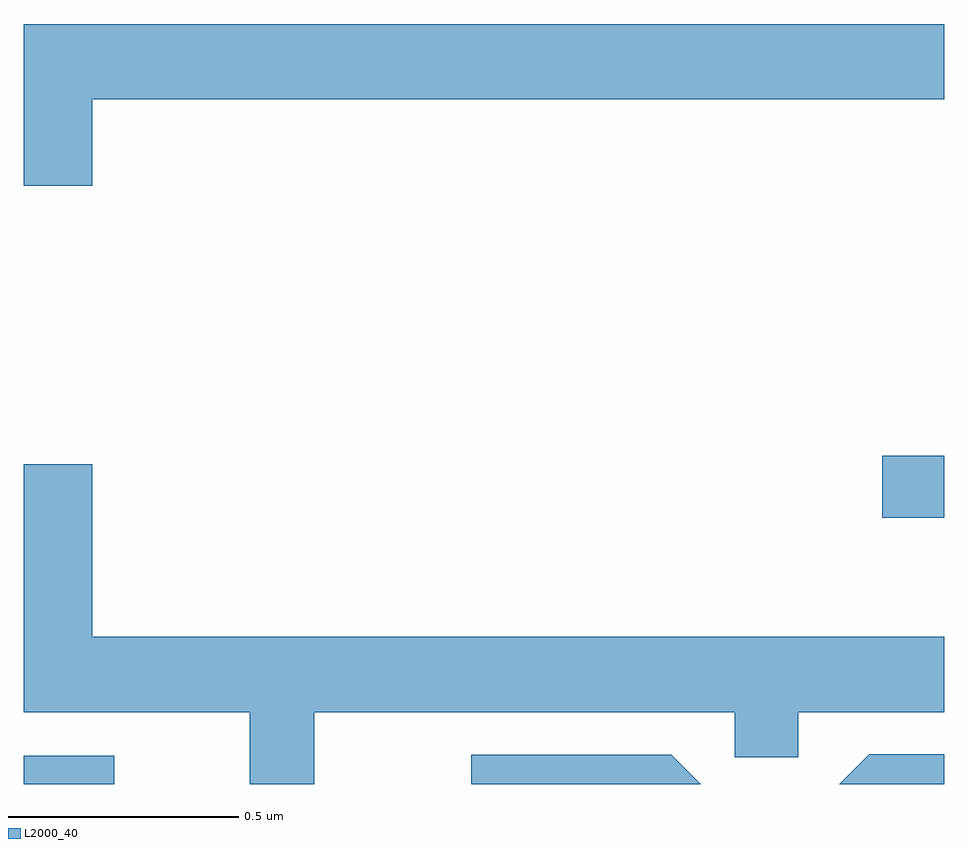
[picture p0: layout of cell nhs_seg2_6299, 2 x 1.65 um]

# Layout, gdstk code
import gdstk
lib = gdstk.Library(unit=1e-6, precision=1e-09)
def R(c, l, rs):  # rectangles x0, y0, x1, y1
    for r in rs: c.add(gdstk.rectangle(r[:2], r[2:], *l))
def P(c, l, *ps):  # polygons
    for p in ps: c.add(gdstk.Polygon(p, *l))
L2000_40 = (2000, 40)

nhs_seg2_6299 = lib.new_cell('nhs_seg2_6299')
R(nhs_seg2_6299, L2000_40, [(189,660.8,189.196,660.861), (190.866,661.379,191,661.514)])
P(nhs_seg2_6299, L2000_40, [(189.148,662.288),(191,662.288),(191,662.452),(189,662.452),(189,662.1),(189.148,662.1)],
  [(189.631,660.956),(190.545,660.956),(190.545,660.858),(190.683,660.858),(190.683,660.956),(191,660.956),(191,661.12),(189.148,661.12),(189.148,661.495),(189,661.495),(189,660.956),(189.491,660.956),(189.491,660.8),(189.631,660.8)],
  [(191,660.865),(190.837,660.865),(190.772,660.8),(191,660.8)],
  [(190.407,660.864),(189.972,660.864),(189.972,660.8),(190.471,660.8)])

lib.write_gds('nhs_seg2_6299.gds')
